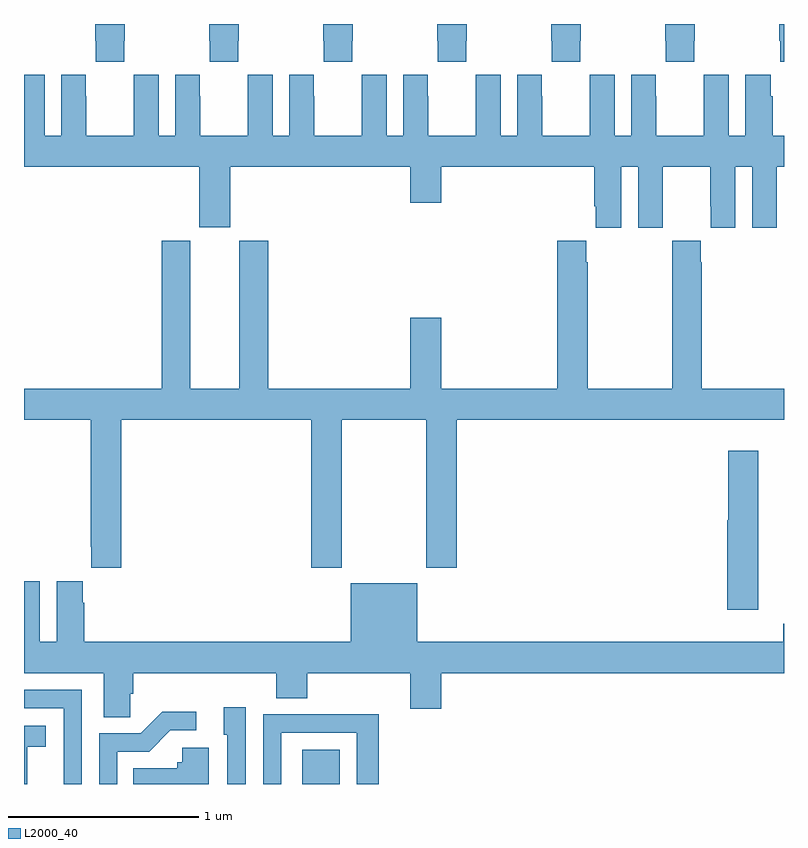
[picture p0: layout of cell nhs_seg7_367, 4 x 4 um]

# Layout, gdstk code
import gdstk
lib = gdstk.Library(unit=1e-6, precision=1e-09)
def R(c, l, rs):  # rectangles x0, y0, x1, y1
    for r in rs: c.add(gdstk.rectangle(r[:2], r[2:], *l))
def P(c, l, *ps):  # polygons
    for p in ps: c.add(gdstk.Polygon(p, *l))
L2000_40 = (2000, 40)

nhs_seg7_367 = lib.new_cell('nhs_seg7_367')
R(nhs_seg7_367, L2000_40, [(140.465,1032,140.662,1032.181)])
P(nhs_seg7_367, L2000_40, [(140.127,1035.913),(140.13,1035.913),(140.13,1036),(139.975,1036),(139.975,1035.913),(139.977,1035.913),(139.977,1035.801),(140.127,1035.801)],
  [(140.727,1035.913),(140.73,1035.913),(140.73,1036),(140.575,1036),(140.575,1035.913),(140.577,1035.913),(140.577,1035.801),(140.727,1035.801)],
  [(141.327,1035.913),(141.33,1035.913),(141.33,1036),(141.175,1036),(141.175,1035.913),(141.177,1035.913),(141.177,1035.801),(141.327,1035.801)],
  [(141.927,1035.913),(141.93,1035.913),(141.93,1036),(141.775,1036),(141.775,1035.913),(141.777,1035.913),(141.777,1035.801),(141.927,1035.801)],
  [(142.527,1035.913),(142.53,1035.913),(142.53,1036),(142.375,1036),(142.375,1035.913),(142.377,1035.913),(142.377,1035.801),(142.527,1035.801)],
  [(143,1036),(142.975,1036),(142.975,1035.913),(142.981,1035.913),(142.981,1035.801),(143,1035.801)],
  [(139.527,1035.913),(139.53,1035.913),(139.53,1036),(139.375,1036),(139.375,1035.913),(139.377,1035.913),(139.377,1035.801),(139.527,1035.801)],
  [(142.94,1035.62),(142.93,1035.62),(142.93,1035.733),(142.796,1035.733),(142.796,1035.412),(142.708,1035.412),(142.708,1035.733),(142.578,1035.733),(142.578,1035.62),(142.577,1035.62),(142.577,1035.412),(142.327,1035.412),(142.327,1035.62),(142.326,1035.62),(142.326,1035.733),(142.196,1035.733),(142.196,1035.412),(142.108,1035.412),(142.108,1035.733),(141.978,1035.733),(141.978,1035.62),(141.977,1035.62),(141.977,1035.412),(141.727,1035.412),(141.727,1035.62),(141.726,1035.62),(141.726,1035.733),(141.596,1035.733),(141.596,1035.412),(141.508,1035.412),(141.508,1035.733),(141.378,1035.733),(141.378,1035.62),(141.377,1035.62),(141.377,1035.412),(141.127,1035.412),(141.127,1035.62),(141.126,1035.62),(141.126,1035.733),(140.996,1035.733),(140.996,1035.412),(140.908,1035.412),(140.908,1035.733),(140.778,1035.733),(140.778,1035.62),(140.777,1035.62),(140.777,1035.412),(140.527,1035.412),(140.527,1035.62),(140.526,1035.62),(140.526,1035.733),(140.396,1035.733),(140.396,1035.412),(140.308,1035.412),(140.308,1035.733),(140.178,1035.733),(140.178,1035.62),(140.177,1035.62),(140.177,1035.412),(139.927,1035.412),(139.927,1035.62),(139.926,1035.62),(139.926,1035.733),(139.796,1035.733),(139.796,1035.412),(139.708,1035.412),(139.708,1035.733),(139.578,1035.733),(139.578,1035.62),(139.577,1035.62),(139.577,1035.412),(139.327,1035.412),(139.327,1035.62),(139.326,1035.62),(139.326,1035.733),(139.196,1035.733),(139.196,1035.412),(139.108,1035.412),(139.108,1035.733),(139,1035.733),(139,1035.248),(139.922,1035.248),(139.922,1034.931),(140.086,1034.931),(140.086,1035.248),(141.032,1035.248),(141.032,1035.06),(141.196,1035.06),(141.196,1035.248),(142.001,1035.248),(142.001,1035.04),(142.01,1035.04),(142.01,1034.928),(142.144,1034.928),(142.144,1035.248),(142.232,1035.248),(142.232,1034.928),(142.362,1034.928),(142.362,1035.04),(142.363,1035.04),(142.363,1035.248),(142.613,1035.248),(142.613,1035.04),(142.614,1035.04),(142.614,1034.928),(142.744,1034.928),(142.744,1035.248),(142.832,1035.248),(142.832,1034.928),(142.962,1034.928),(142.962,1035.04),(142.963,1035.04),(142.963,1035.248),(143,1035.248),(143,1035.412),(142.94,1035.412)],
  [(139.511,1033.916),(140.513,1033.916),(140.513,1033.137),(140.673,1033.137),(140.673,1033.916),(141.118,1033.916),(141.118,1033.137),(141.278,1033.137),(141.278,1033.916),(143,1033.916),(143,1034.08),(142.566,1034.08),(142.566,1034.747),(142.563,1034.747),(142.563,1034.86),(142.413,1034.86),(142.413,1034.747),(142.411,1034.747),(142.411,1034.08),(141.966,1034.08),(141.966,1034.747),(141.959,1034.747),(141.959,1034.86),(141.806,1034.86),(141.806,1034.08),(141.196,1034.08),(141.196,1034.455),(141.032,1034.455),(141.032,1034.08),(140.285,1034.08),(140.285,1034.859),(140.132,1034.859),(140.132,1034.08),(139.876,1034.08),(139.876,1034.859),(139.724,1034.859),(139.724,1034.08),(139,1034.08),(139,1033.916),(139.351,1033.916),(139.351,1033.249),(139.355,1033.249),(139.355,1033.137),(139.511,1033.137)],
  [(142.864,1033.753),(142.706,1033.753),(142.706,1033.389),(142.7,1033.389),(142.7,1032.918),(142.864,1032.918)],
  [(139,1033.066),(139,1032.584),(139.421,1032.584),(139.421,1032.352),(139.56,1032.352),(139.56,1032.475),(139.574,1032.475),(139.574,1032.584),(140.327,1032.584),(140.327,1032.451),(140.492,1032.451),(140.492,1032.584),(141.032,1032.584),(141.032,1032.396),(141.196,1032.396),(141.196,1032.584),(143,1032.584),(143,1032.844),(142.997,1032.844),(142.997,1032.748),(141.07,1032.748),(141.07,1033.057),(140.72,1033.057),(140.72,1032.748),(139.316,1032.748),(139.316,1032.953),(139.309,1032.953),(139.309,1033.066),(139.172,1033.066),(139.172,1032.748),(139.084,1032.748),(139.084,1033.066)],
  [(139.305,1032.495),(139,1032.495),(139,1032.399),(139.209,1032.399),(139.209,1032),(139.305,1032)],
  [(140.166,1032.403),(140.051,1032.403),(140.051,1032.258),(140.07,1032.258),(140.07,1032),(140.166,1032)],
  [(139.491,1032.171),(139.66,1032.171),(139.771,1032.282),(139.906,1032.282),(139.906,1032.38),(139.727,1032.38),(139.614,1032.267),(139.395,1032.267),(139.395,1032),(139.491,1032)],
  [(140.355,1032.27),(140.751,1032.27),(140.751,1032),(140.867,1032),(140.867,1032.368),(140.575,1032.368),(140.575,1032.366),(140.259,1032.366),(140.259,1032),(140.355,1032)],
  [(139.016,1032.197),(139.114,1032.197),(139.114,1032.307),(139,1032.307),(139,1032),(139.016,1032)],
  [(139.972,1032.19),(139.833,1032.19),(139.833,1032.114),(139.807,1032.114),(139.807,1032.082),(139.576,1032.082),(139.576,1032),(139.972,1032)])

lib.write_gds('nhs_seg7_367.gds')
